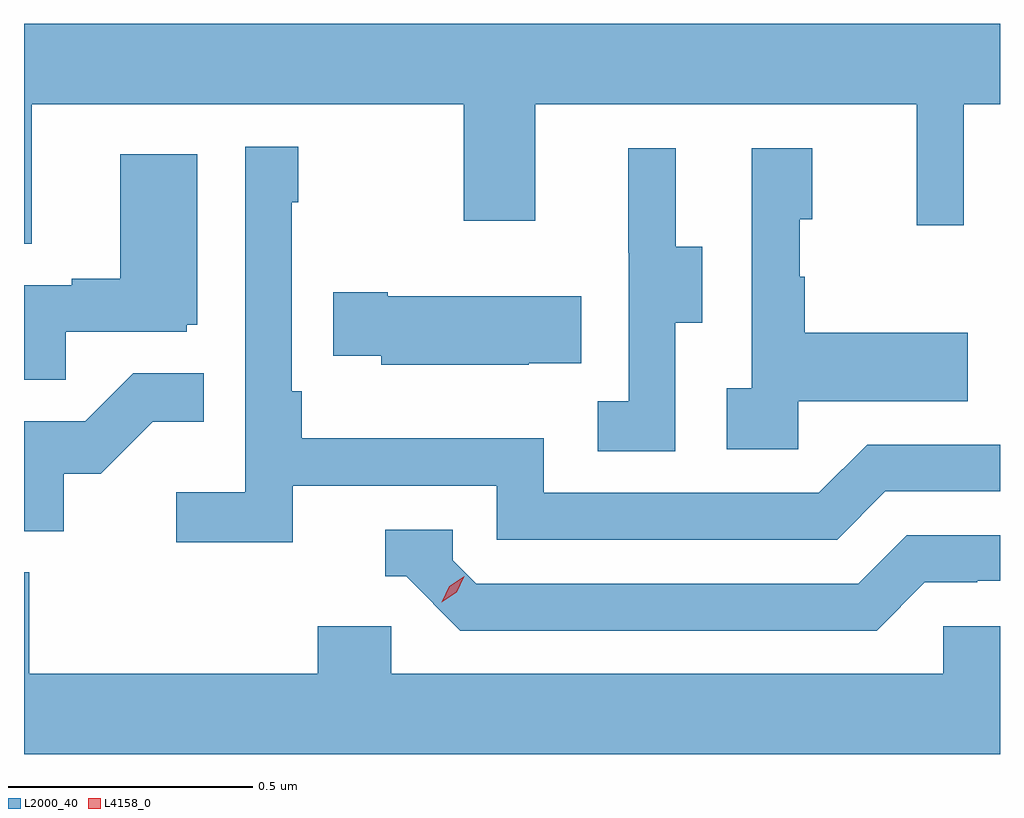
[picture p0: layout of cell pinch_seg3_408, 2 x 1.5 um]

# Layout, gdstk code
import gdstk
lib = gdstk.Library(unit=1e-6, precision=1e-09)
def P(c, l, *ps):  # polygons
    for p in ps: c.add(gdstk.Polygon(p, *l))
L2000_40 = (2000, 40)
L4158_0 = (4158, 0)

pinch_seg3_408 = lib.new_cell('pinch_seg3_408')
P(pinch_seg3_408, L2000_40, [(913.081,691.592),(913.966,691.592),(913.966,691.353),(914.113,691.353),(914.113,691.592),(914.894,691.592),(914.894,691.344),(914.991,691.344),(914.991,691.592),(915.065,691.592),(915.065,691.756),(913.065,691.756),(913.065,691.306),(913.081,691.306)],
  [(913.616,690.81),(914.034,690.81),(914.034,690.699),(914.731,690.699),(914.83,690.798),(915.065,690.798),(915.065,690.894),(914.793,690.894),(914.694,690.795),(914.13,690.795),(914.13,690.907),(913.634,690.907),(913.634,691.003),(913.614,691.003),(913.614,691.391),(913.627,691.391),(913.627,691.504),(913.518,691.504),(913.518,690.796),(913.377,690.796),(913.377,690.694),(913.616,690.694)],
  [(914.4,691.144),(914.455,691.144),(914.455,691.299),(914.401,691.299),(914.401,691.501),(914.303,691.501),(914.303,691.287),(914.304,691.287),(914.304,690.983),(914.241,690.983),(914.241,690.88),(914.4,690.88)],
  [(914.652,690.983),(914.999,690.983),(914.999,691.123),(914.665,691.123),(914.665,691.238),(914.655,691.238),(914.655,691.356),(914.68,691.356),(914.68,691.501),(914.556,691.501),(914.556,691.01),(914.505,691.01),(914.505,690.885),(914.652,690.885)],
  [(913.151,691.125),(913.398,691.125),(913.398,691.14),(913.42,691.14),(913.42,691.489),(913.262,691.489),(913.262,691.234),(913.163,691.234),(913.163,691.221),(913.065,691.221),(913.065,691.027),(913.151,691.027)],
  [(914.099,691.061),(914.207,691.061),(914.207,691.198),(913.81,691.198),(913.81,691.206),(913.699,691.206),(913.699,691.076),(913.797,691.076),(913.797,691.058),(914.099,691.058)],
  [(913.146,690.834),(913.222,690.834),(913.329,690.941),(913.433,690.941),(913.433,691.04),(913.289,691.04),(913.191,690.942),(913.065,690.942),(913.065,690.717),(913.146,690.717)],
  [(914.911,690.612),(915.018,690.612),(915.018,690.615),(915.065,690.615),(915.065,690.708),(914.874,690.708),(914.775,690.609),(913.992,690.609),(913.944,690.657),(913.944,690.72),(913.805,690.72),(913.805,690.624),(913.848,690.624),(913.959,690.513),(914.812,690.513)],
  [(915.065,690.522),(914.949,690.522),(914.949,690.424),(913.818,690.424),(913.818,690.522),(913.667,690.522),(913.667,690.424),(913.076,690.424),(913.076,690.632),(913.065,690.632),(913.065,690.26),(915.065,690.26)])
P(pinch_seg3_408, L4158_0, [(913.921,690.571),(913.921,690.571),(913.936,690.604),(913.967,690.624),(913.967,690.624),(913.967,690.624),(913.952,690.591),(913.921,690.571)])

lib.write_gds('pinch_seg3_408.gds')
